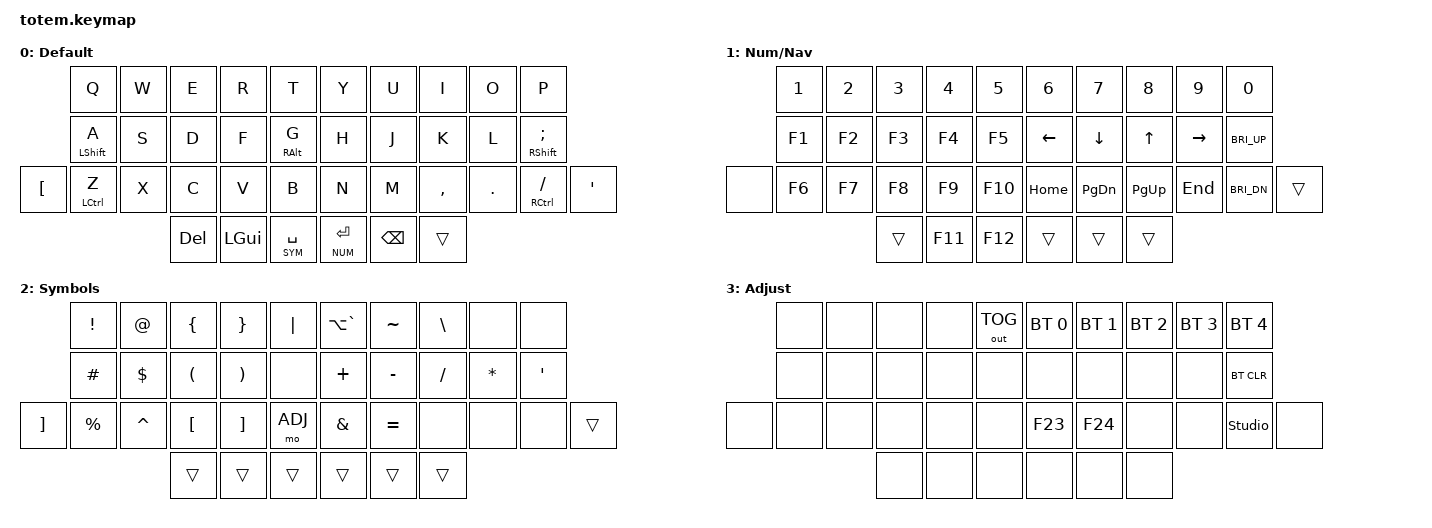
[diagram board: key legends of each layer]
#include <behaviors.dtsi>
#include <dt-bindings/zmk/keys.h>
#include <dt-bindings/zmk/bt.h>
#include <dt-bindings/zmk/outputs.h>

#include "helpers/38_key_labels.h"

#define DEF 0
#define NUM 1
#define SYM 2
#define ADJ 3

// Using layer taps on thumbs, having quick tap as well helps w/ repeating space/backspace
// https://zmk.dev/docs/keymaps/behaviors/hold-tap#quick-tap-ms
&lt {
  quick-tap-ms = <200>;
};

/ {
  behaviors {
    // https://zmk.dev/docs/keymaps/behaviors/hold-tap#interrupt-flavors
    hm: homerow_mods {
      compatible = "zmk,behavior-hold-tap";
      #binding-cells = <2>;
      tapping-term-ms = <150>;
      quick-tap-ms = <0>;
      flavor = "balanced";
      bindings = <&kp>, <&kp>;
    };
  };

  combos {
    compatible = "zmk,combos";

    combo_esc {
      key-positions = <LT2 LT3>;
      bindings = <&kp ESC>;
    };

    combo_backspace {
      key-positions = <LM3 LM2>;
      bindings = <&kp BACKSPACE>;
    };

    combo_tab {
      key-positions = <LM2 LM1>;
      bindings = <&kp TAB>;
    };

    combo_less_than {
      key-positions = <RM1 RM2>;
      bindings = <&kp LESS_THAN>;
    };

    combo_greater_than {
      key-positions = <RM2 RM3>;
      bindings = <&kp GREATER_THAN>;
    };

    combo_enter {
      key-positions = <LB2 LB1>;
      bindings = <&kp ENTER>;
    };

    combo_single_quote {
      key-positions = <RB0 RB1>;
      bindings = <&kp SINGLE_QUOTE>;
    };

    combo_underscore {
      key-positions = <RB1 RB2>;
      bindings = <&kp UNDERSCORE>;
    };
  };

  keymap {
    compatible = "zmk,keymap";

    default_layer {
      display-name = "Default";
      bindings = <
                  &kp Q        &kp W      &kp E     &kp R    &kp T            &kp Y         &kp U         &kp I        &kp O        &kp P
                  &hm LSHFT A  &kp S      &kp D     &kp F    &hm RALT G       &kp H         &kp J         &kp K        &kp L        &hm RSHFT SEMI
        &kp LBKT  &hm LCTRL Z  &kp X      &kp C     &kp V    &kp B            &kp N         &kp M         &kp COMMA    &kp DOT      &hm RCTRL FSLH &kp SQT
                                          &kp DEL   &kp LGUI &lt SYM SPACE    &lt NUM ENTER &kp BKSP      &trans
      >;
    };

    num_layer {
      display-name = "Num/Nav";
      bindings = <
                  &kp N1       &kp N2     &kp N3    &kp N4   &kp N5           &kp N6        &kp N7        &kp N8       &kp N9       &kp N0
                  &kp F1       &kp F2     &kp F3    &kp F4   &kp F5           &kp LEFT      &kp DOWN      &kp UP       &kp RIGHT    &kp C_BRI_UP
        &none     &kp F6       &kp F7     &kp F8    &kp F9   &kp F10          &kp HOME      &kp PG_DN     &kp PG_UP    &kp END      &kp C_BRI_DN   &trans
                                          &trans    &kp F11  &kp F12          &trans        &trans        &trans
      >;
    };

    sym_layer {
      display-name = "Symbols";
      bindings = <
                  &kp EXCL     &kp AT     &kp LBRC  &kp RBRC   &kp PIPE       &kp LA(GRAVE)  &kp TILDE    &kp BSLH     &none        &none
                  &kp HASH     &kp DLLR   &kp LPAR  &kp RPAR   &none          &kp PLUS       &kp MINUS    &kp FSLH     &kp STAR     &kp SQT
        &kp RBKT  &kp PRCNT    &kp CARET  &kp LBKT  &kp RBKT   &mo ADJ        &kp AMPS       &kp EQUAL    &none        &none        &none          &trans
                                          &trans    &trans     &trans         &trans         &trans       &trans
      >;
    };

    adj_layer {
      display-name = "Adjust";
      bindings = <
                  &none        &none      &none     &none      &out OUT_TOG   &bt BT_SEL 0   &bt BT_SEL 1 &bt BT_SEL 2 &bt BT_SEL 3 &bt BT_SEL 4
                  &none        &none      &none     &none      &none          &none          &none        &none        &none        &bt BT_CLR
        &none     &none        &none      &none     &none      &none          &kp F23        &kp F24      &none        &none        &studio_unlock &none
                                          &none     &none      &none          &none          &none        &none
      >;
    };

    extra1 {
      status = "reserved";
    };

    extra2 {
      status = "reserved";
    };
  };
};
